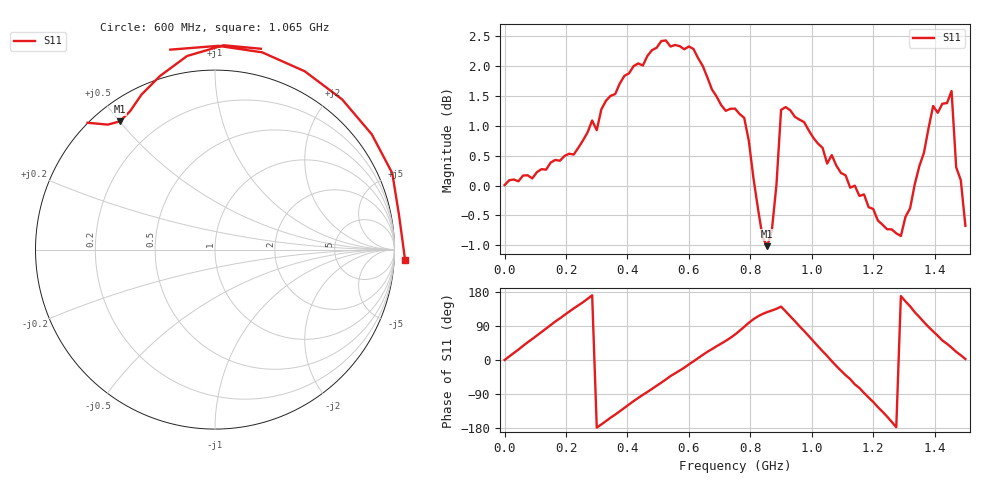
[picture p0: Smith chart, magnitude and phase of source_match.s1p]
! Created with skrf 1.8.0 (http://scikit-rf.org).
# Hz S RI R 50.0
!freq ReS11 ImS11
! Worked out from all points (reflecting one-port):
!   101 points, 50 kHz to 1.5 GHz, reference 50 ohm
!   lowest |S11| = -1.0 dB at 855 MHz (marker M1), VSWR 17.12, Z = 3.66 + j25.1 ohm
!   phase of S11 starts at 0 deg and turns +3 deg over the sweep
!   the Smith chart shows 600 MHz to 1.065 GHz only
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50000  1.001 0.000348
4.50485e7  0.8943 0.4654
1.050465e8  0.4415 0.9262
1.950435e8  -0.51 0.9276
2.850405e8  -1.119 0.1828
3.30039e8  -1.114 -0.3802
3.750375e8  -0.8645 -0.8573
4.20036e8  -0.3978 -1.194
4.80034e8  0.3101 -1.261
5.70031e8  1.158 -0.6093
6.450285e8  1.225 0.2923
7.50025e8  0.4503 1.069
8.10023e8  -0.3067 0.9671
8.550215e8  -0.5301 0.7145
9.0002e8  -0.8983 0.7293
9.450185e8  -0.2491 1.114
9.90017e8  0.4999 0.9936
1.035016e9  0.9877 0.4257
1.065014e9  1.059 -0.0563
1.125012e9  0.6354 -0.7667
1.170011e9  0.0557 -0.9814
1.20001e9  -0.3377 -0.8941
1.260008e9  -0.8791 -0.2674
1.320006e9  -0.7517 0.5921
1.350005e9  -0.4167 0.9505
1.395004e9  0.2923 1.129
1.455002e9  1.01 0.6479
1.5e9  0.924 0.0436
